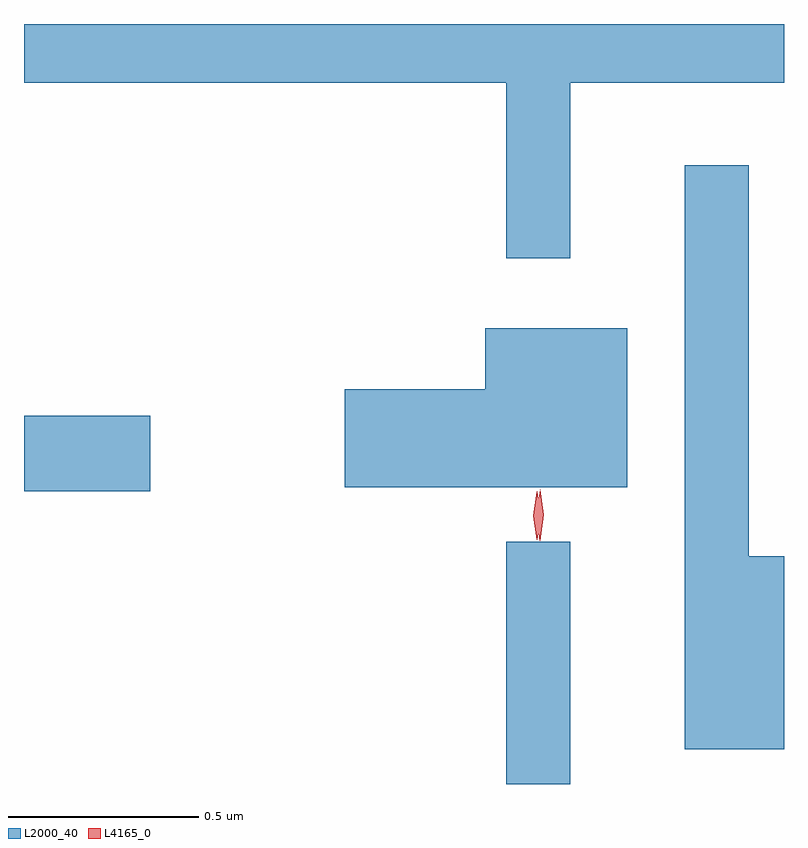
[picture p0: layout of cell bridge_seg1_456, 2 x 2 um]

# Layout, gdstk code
import gdstk
lib = gdstk.Library(unit=1e-6, precision=1e-09)
def R(c, l, rs):  # rectangles x0, y0, x1, y1
    for r in rs: c.add(gdstk.rectangle(r[:2], r[2:], *l))
def P(c, l, *ps):  # polygons
    for p in ps: c.add(gdstk.Polygon(p, *l))
L2000_40 = (2000, 40)
L4165_0 = (4165, 0)

bridge_seg1_456 = lib.new_cell('bridge_seg1_456')
R(bridge_seg1_456, L2000_40, [(215.721,897.73,215.889,898.368), (214.452,898.501,214.784,898.699)])
P(bridge_seg1_456, L2000_40, [(215.889,899.576),(216.452,899.576),(216.452,899.73),(214.452,899.73),(214.452,899.576),(215.721,899.576),(215.721,899.113),(215.889,899.113)],
  [(216.452,898.329),(216.359,898.329),(216.359,899.358),(216.191,899.358),(216.191,897.821),(216.452,897.821)],
  [(216.039,898.929),(215.666,898.929),(215.666,898.769),(215.296,898.769),(215.296,898.511),(216.039,898.511)])
P(bridge_seg1_456, L4165_0, [(215.801,898.373),(215.792,898.436),(215.801,898.499),(215.802,898.5),(215.802,898.499),(215.812,898.436),(215.802,898.373),(215.802,898.373)],
  [(215.809,898.37),(215.809,898.37),(215.8,898.438),(215.81,898.505),(215.811,898.506),(215.811,898.505),(215.82,898.438),(215.81,898.37)])

lib.write_gds('bridge_seg1_456.gds')
